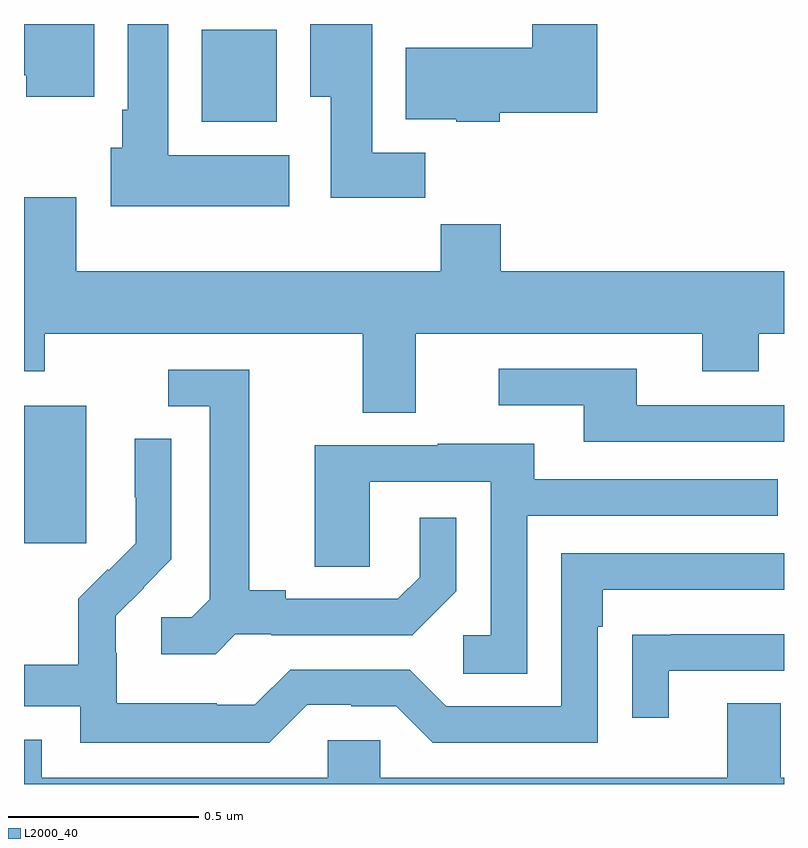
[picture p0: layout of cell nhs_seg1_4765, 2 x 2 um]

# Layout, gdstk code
import gdstk
lib = gdstk.Library(unit=1e-6, precision=1e-09)
def R(c, l, rs):  # rectangles x0, y0, x1, y1
    for r in rs: c.add(gdstk.rectangle(r[:2], r[2:], *l))
def P(c, l, *ps):  # polygons
    for p in ps: c.add(gdstk.Polygon(p, *l))
L2000_40 = (2000, 40)

nhs_seg1_4765 = lib.new_cell('nhs_seg1_4765')
R(nhs_seg1_4765, L2000_40, [(170,565.833,170.164,566.194), (170.468,566.942,170.665,567.184)])
P(nhs_seg1_4765, L2000_40, [(171.252,566.966),(171.509,566.966),(171.509,567.199),(171.338,567.199),(171.338,567.136),(171.005,567.136),(171.005,566.948),(171.138,566.948),(171.138,566.942),(171.252,566.942)],
  [(171.056,566.86),(170.917,566.86),(170.917,567.199),(170.753,567.199),(170.753,567.008),(170.807,567.008),(170.807,566.742),(171.056,566.742)],
  [(170.185,567.199),(170,567.199),(170,567.064),(170.006,567.064),(170.006,567.008),(170.185,567.008)],
  [(170.698,566.854),(170.38,566.854),(170.38,567.199),(170.273,567.199),(170.273,566.974),(170.258,566.974),(170.258,566.874),(170.228,566.874),(170.228,566.72),(170.698,566.72)],
  [(171.031,566.384),(171.785,566.384),(171.785,566.285),(171.933,566.285),(171.933,566.384),(172,566.384),(172,566.548),(171.254,566.548),(171.254,566.672),(171.097,566.672),(171.097,566.548),(170.137,566.548),(170.137,566.743),(170,566.743),(170,566.285),(170.055,566.285),(170.055,566.384),(170.891,566.384),(170.891,566.176),(171.031,566.176)],
  [(172,566.196),(171.613,566.196),(171.613,566.292),(171.249,566.292),(171.249,566.196),(171.473,566.196),(171.473,566.1),(172,566.1)],
  [(170.556,565.593),(170.65,565.593),(170.65,565.59),(171.022,565.59),(171.138,565.706),(171.138,565.9),(171.041,565.9),(171.041,565.743),(170.984,565.686),(170.689,565.686),(170.689,565.709),(170.593,565.709),(170.593,566.289),(170.379,566.289),(170.379,566.193),(170.489,566.193),(170.489,565.685),(170.442,565.638),(170.361,565.638),(170.361,565.541),(170.504,565.541)],
  [(170.745,565.407),(170.861,565.407),(170.861,565.404),(170.979,565.404),(171.075,565.308),(171.51,565.308),(171.51,565.613),(171.523,565.613),(171.523,565.71),(172,565.71),(172,565.806),(171.414,565.806),(171.414,565.404),(171.111,565.404),(171.015,565.5),(170.7,565.5),(170.607,565.407),(170.507,565.407),(170.507,565.411),(170.244,565.411),(170.244,565.545),(170.242,565.545),(170.242,565.642),(170.316,565.716),(170.315,565.717),(170.388,565.79),(170.388,566.108),(170.292,566.108),(170.292,565.954),(170.294,565.954),(170.294,565.832),(170.223,565.761),(170.22,565.764),(170.143,565.687),(170.143,565.513),(170,565.513),(170,565.404),(170.148,565.404),(170.148,565.307),(170.645,565.307)],
  [(171.324,565.905),(171.983,565.905),(171.983,566.001),(171.343,566.001),(171.343,566.095),(171.089,566.095),(171.089,566.091),(170.765,566.091),(170.765,565.771),(170.91,565.771),(170.91,565.995),(171.228,565.995),(171.228,565.59),(171.156,565.59),(171.156,565.489),(171.324,565.489)],
  [(171.697,565.497),(172,565.497),(172,565.593),(171.703,565.593),(171.703,565.592),(171.601,565.592),(171.601,565.374),(171.697,565.374)],
  [(172,565.216),(171.991,565.216),(171.991,565.411),(171.851,565.411),(171.851,565.216),(170.937,565.216),(170.937,565.314),(170.799,565.314),(170.799,565.216),(170.047,565.216),(170.047,565.315),(170,565.315),(170,565.199),(172,565.199)])

lib.write_gds('nhs_seg1_4765.gds')
